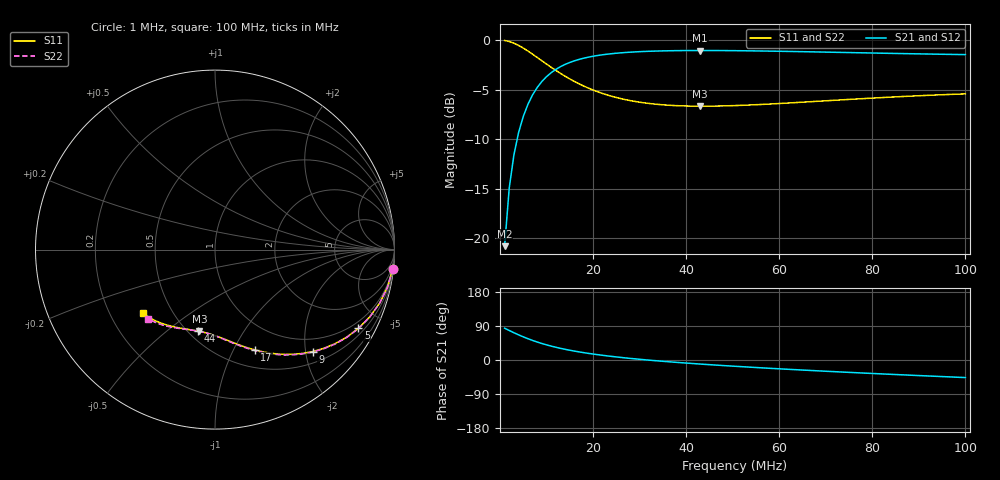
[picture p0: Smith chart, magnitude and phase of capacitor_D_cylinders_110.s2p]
!Created with skrf (http://scikit-rf.org).
# MHz S RI R 50.0
!freq ReS11 ImS11 ReS21 ImS21 ReS12 ImS12 ReS22 ImS22
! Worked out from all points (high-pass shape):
!   100 points, 1 MHz to 100 MHz, reference 50 ohm
!   highest |S21| = -1.05 dB at 43 MHz (marker M1); lowest = -20.8 dB at 1 MHz (marker M2)
!   |S21| within 3 dB of the highest: 9.27 MHz to end of sweep
!   lowest |S11| = -6.7 dB at 43 MHz (marker M3), VSWR 2.73, Z = 28.3 - j32.8 ohm
!   |S11| at or under -10 dB: nowhere
!   |S22| runs from -6.7 to 0.0 dB; largest |S21 - S12| = 1.3e-13
!   S11 on the Smith chart (normalised r, x): 1 MHz: 1, -19; 5 MHz: 0.73, -3.77; 9 MHz: 0.72, -2.14; 17 MHz: 0.70, -1.22; 44 MHz: 0.56, -0.65; 100 MHz: 0.34, -0.34
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1  0.9902 -0.1062  0.00975 0.0905  0.00975 0.0905  0.9901 -0.107
! Port Impedance 50.00000000000000 0.00000000000000 50.00000000000000 0.00000000000000
2  0.9617 -0.2069  0.0379 0.1755  0.0379 0.1755  0.9614 -0.2084
3  0.9177 -0.2976  0.0815 0.2504  0.0815 0.2504  0.917 -0.2997
4  0.862 -0.3752  0.1365 0.3122  0.1365 0.3122  0.8609 -0.3779
5  0.7992 -0.4386  0.1984 0.3598  0.1984 0.3598  0.7975 -0.4417
7  0.6673 -0.5249  0.3277 0.4144  0.3277 0.4144  0.6646 -0.5284
9  0.5438 -0.5681  0.4476 0.4257  0.4476 0.4257  0.5401 -0.5716
11  0.4377 -0.583  0.5489 0.4089  0.5489 0.4089  0.4333 -0.5863
13  0.3504 -0.5817  0.6304 0.3761  0.6304 0.3761  0.3455 -0.5846
15  0.2795 -0.5721  0.6944 0.3353  0.6944 0.3353  0.2743 -0.5746
17  0.222 -0.559  0.7439 0.2913  0.7439 0.2913  0.2166 -0.5611
18  0.1973 -0.552  0.7642 0.269  0.7642 0.269  0.1919 -0.5538
21  0.1357 -0.5313  0.8112 0.2031  0.8112 0.2031  0.1306 -0.5326
25  0.0744 -0.5076  0.8499 0.1208  0.8499 0.1208  0.0699 -0.5082
29  0.0277 -0.4893  0.8705 0.0461  0.8705 0.0461  0.0241 -0.4894
34  -0.0189 -0.4729  0.8801 -0.0371  0.8801 -0.0371  -0.021 -0.4729
43  -0.0865 -0.4556  0.8707 -0.1639  0.8707 -0.1639  -0.0851 -0.4558
44  -0.0933 -0.4543  0.8682 -0.1765  0.8682 -0.1765  -0.0915 -0.4546
51  -0.1387 -0.4464  0.8456 -0.2576  0.8456 -0.2576  -0.1338 -0.4479
67  -0.2344 -0.429  0.7718 -0.4066  0.7718 -0.4066  -0.2213 -0.436
84  -0.3268 -0.3984  0.6773 -0.5251  0.6773 -0.5251  -0.3045 -0.4157
100  -0.4021 -0.353  0.5831 -0.6114  0.5831 -0.6114  -0.3716 -0.385
